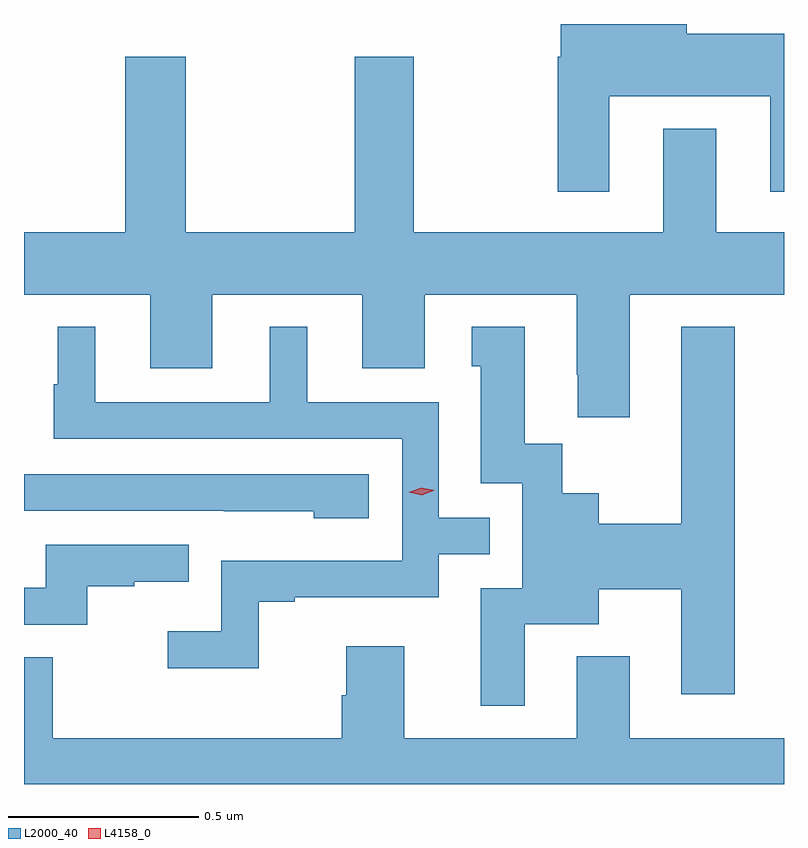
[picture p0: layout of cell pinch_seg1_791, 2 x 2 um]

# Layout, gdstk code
import gdstk
lib = gdstk.Library(unit=1e-6, precision=1e-09)
def P(c, l, *ps):  # polygons
    for p in ps: c.add(gdstk.Polygon(p, *l))
L2000_40 = (2000, 40)
L4158_0 = (4158, 0)

pinch_seg1_791 = lib.new_cell('pinch_seg1_791')
P(pinch_seg1_791, L2000_40, [(528.721,549.59),(529.145,549.59),(529.145,549.339),(529.181,549.339),(529.181,549.754),(528.925,549.754),(528.925,549.78),(528.593,549.78),(528.593,549.694),(528.586,549.694),(528.586,549.339),(528.721,549.339)],
  [(527.513,548.874),(527.677,548.874),(527.677,549.068),(528.071,549.068),(528.071,548.874),(528.235,548.874),(528.235,549.068),(528.635,549.068),(528.635,548.857),(528.638,548.857),(528.638,548.745),(528.775,548.745),(528.775,549.068),(529.181,549.068),(529.181,549.232),(529.003,549.232),(529.003,549.505),(528.863,549.505),(528.863,549.232),(528.207,549.232),(528.207,549.694),(528.052,549.694),(528.052,549.232),(527.607,549.232),(527.607,549.694),(527.447,549.694),(527.447,549.232),(527.181,549.232),(527.181,549.068),(527.513,549.068)],
  [(528.499,548.201),(528.694,548.201),(528.694,548.293),(528.911,548.293),(528.911,548.016),(529.051,548.016),(529.051,548.983),(528.911,548.983),(528.911,548.465),(528.694,548.465),(528.694,548.545),(528.597,548.545),(528.597,548.675),(528.499,548.675),(528.499,548.983),(528.359,548.983),(528.359,548.88),(528.383,548.88),(528.383,548.571),(528.492,548.571),(528.492,548.295),(528.383,548.295),(528.383,547.986),(528.499,547.986)],
  [(527.799,548.259),(527.893,548.259),(527.893,548.271),(528.273,548.271),(528.273,548.385),(528.406,548.385),(528.406,548.481),(528.273,548.481),(528.273,548.784),(527.926,548.784),(527.926,548.983),(527.828,548.983),(527.828,548.784),(527.368,548.784),(527.368,548.983),(527.27,548.983),(527.27,548.832),(527.259,548.832),(527.259,548.688),(528.177,548.688),(528.177,548.367),(527.7,548.367),(527.7,548.182),(527.559,548.182),(527.559,548.084),(527.799,548.084)],
  [(528.088,548.595),(527.181,548.595),(527.181,548.499),(527.707,548.499),(527.707,548.498),(527.943,548.498),(527.943,548.48),(528.088,548.48)],
  [(527.348,548.301),(527.471,548.301),(527.471,548.312),(527.615,548.312),(527.615,548.409),(527.238,548.409),(527.238,548.297),(527.181,548.297),(527.181,548.199),(527.348,548.199)],
  [(529.181,547.9),(528.775,547.9),(528.775,548.116),(528.635,548.116),(528.635,547.9),(528.181,547.9),(528.181,548.143),(528.029,548.143),(528.029,548.013),(528.017,548.013),(528.017,547.9),(527.257,547.9),(527.257,548.114),(527.181,548.114),(527.181,547.78),(529.181,547.78)])
P(pinch_seg1_791, L4158_0, [(528.228,548.54),(528.193,548.548),(528.192,548.548),(528.193,548.548),(528.226,548.56),(528.262,548.553),(528.262,548.553),(528.262,548.553)])

lib.write_gds('pinch_seg1_791.gds')
